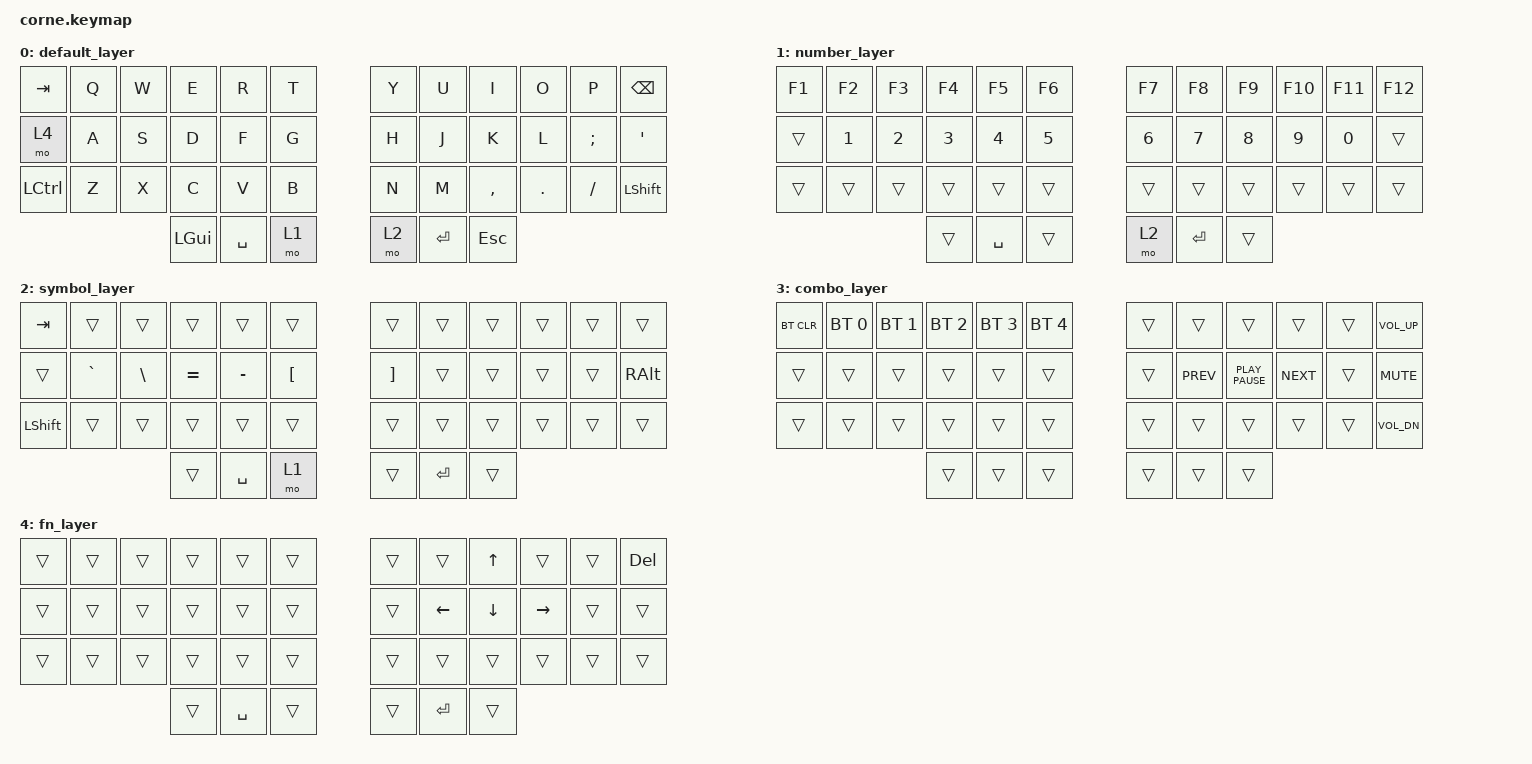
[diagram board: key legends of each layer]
/*
 * Copyright (c) 2020 The ZMK Contributors
 *
 * SPDX-License-Identifier: MIT
 */

#include <behaviors.dtsi>
#include <dt-bindings/zmk/keys.h>
#include <dt-bindings/zmk/bt.h>

/ {
        conditional_layers {
                compatible = "zmk,conditional-layers";
                combo_layer {
                        if-layers = <1 2>;
                        then-layer = <3>;
                };
        };

        keymap {
                compatible = "zmk,keymap";

                default_layer {
// -----------------------------------------------------------------------------------------
// |  TAB |  Q  |  W  |  E  |  R  |  T  |   |  Y  |   U  |  I   |  O  |  P  | BSPC |
// |  FN  |  A  |  S  |  D  |  F  |  G  |   |  H  |   J  |  K   |  L  |  :  |  '   |
// | LCTRL|  Z  |  X  |  C  |  V  |  B  |   |  N  |   M  |  ,   |  .  |  /  | LSHFT|
//                    | LGUI| SPC |NLAYR|   |SYMLR|  ENT | ESC  |
// -----------------------------------------------------------------------------------------
                        bindings = <
   &kp TAB      &kp Q      &kp W       &kp E         &kp R         &kp T         &kp Y     &kp U         &kp I        &kp O         &kp P            &kp BSPC
   &mo 4        &kp A      &kp S       &kp D         &kp F         &kp G         &kp H     &kp J         &kp K        &kp L         &kp SEMICOLON    &kp SQT
   &kp LCTRL    &kp Z      &kp X       &kp C         &kp V         &kp B         &kp N     &kp M         &kp COMMA    &kp DOT       &kp FSLH         &kp LSHFT
                                       &kp LGUI      &kp SPACE     &mo 1         &mo 2     &kp RET       &kp ESC
                        >;
                };

                number_layer {
// -----------------------------------------------------------------------------------------
// | F1  |  F2 |  F3 |  F4 |  F5 |  F6 |   |  F7 |  F8 |  F9 | F10 | F11 | F12 |
// |     |  1  |  2  |  3  |  4  |  5  |   |  6  |  7  |  8  |  9  |  0  |     |
// |     |     |     |     |     |     |   |     |     |     |     |     |     |
//                   |     |CBLYR| SPC |   |     | ENT |     |
// -----------------------------------------------------------------------------------------
                        bindings = <
   &kp F1       &kp F2         &kp F3         &kp F4      &kp F5         &kp F6       &kp F7   &kp F8         &kp F9        &kp F10        &kp F11       &kp F12
   &trans       &kp N1         &kp N2         &kp N3      &kp N4         &kp N5       &kp N6   &kp N7         &kp N8        &kp N9         &kp N0        &trans
   &trans       &trans         &trans         &trans      &trans         &trans       &trans   &trans         &trans        &trans         &trans        &trans
                                              &trans      &kp SPACE      &trans       &mo 2    &kp RET        &trans
                        >;
                };

                symbol_layer {
// -----------------------------------------------------------------------------------------
// | TAB |     |     |     |     |     |   |     |     |     |     |     |     |
// |     |  `  |  \  |  =  |  -  |  [  |   |  ]  |     |     |     |     |RALT |
// |LSHFT|     |     |     |     |     |   |     |     |     |     |     |     |
//                   |     | SPC |CBLYR|   |     | ENT |     |
                        bindings = <
   &kp TAB     &trans          &trans       &trans         &trans        &trans      &trans    &trans    &trans       &trans       &trans      &trans
   &trans      &kp GRAVE       &kp BSLH     &kp EQUAL      &kp MINUS     &kp LBKT    &kp RBKT  &trans    &trans       &trans       &trans      &kp RALT
   &kp LSHFT   &trans          &trans       &trans         &trans        &trans      &trans    &trans    &trans       &trans       &trans      &trans
                               &trans       &kp SPACE      &mo 1         &trans      &kp RET   &trans
                        >;
                };

                combo_layer {
// -----------------------------------------------------------------------------------------
// | BTCLR| BT1 | BT2 | BT3 | BT4 | BT5 |   |     |      |     |     |     |VOL_UP|
// |      |     |     |     |     |     |   |     | CPRV |CPAUS|CNEXT|     |C_MUTE|
// |      |     |     |     |     |     |   |     |      |     |     |     |VOLDWN|
//                    |     |     |     |   |     |      |     |
                        bindings = <
   &bt BT_CLR &bt BT_SEL 0 &bt BT_SEL 1 &bt BT_SEL 2 &bt BT_SEL 3 &bt BT_SEL 4      &trans   &trans       &trans            &trans       &trans   &kp C_VOL_UP
   &trans     &trans       &trans       &trans       &trans       &trans            &trans   &kp C_PREV   &kp K_PLAY_PAUSE  &kp C_NEXT   &trans   &kp C_MUTE
   &trans     &trans       &trans       &trans       &trans       &trans            &trans   &trans       &trans            &trans       &trans   &kp C_VOL_DN
                                        &trans       &trans       &trans            &trans   &trans       &trans
                        >;
                };

                fn_layer {
// -----------------------------------------------------------------------------------------
// |      |     |     |     |     |     |   |     |     |  UP |     |     | DEL |
// |      |     |     |     |     |     |   |     | LFT | DWN | RGT |     |     |
// |      |     |     |     |     |     |   |     |     |     |     |     |     |
//                    |     |     |     |   |     |     |     |
                        bindings = <
   &trans     &trans       &trans       &trans       &trans       &trans          &trans   &trans       &kp UP            &trans       &trans   &kp DEL
   &trans     &trans       &trans       &trans       &trans       &trans          &trans   &kp LEFT     &kp DOWN          &kp RIGHT    &trans   &trans
   &trans     &trans       &trans       &trans       &trans       &trans          &trans   &trans       &trans            &trans       &trans   &trans
                                        &trans       &kp SPACE    &trans          &trans   &kp RET      &trans
                        >;
                };
        };
};
